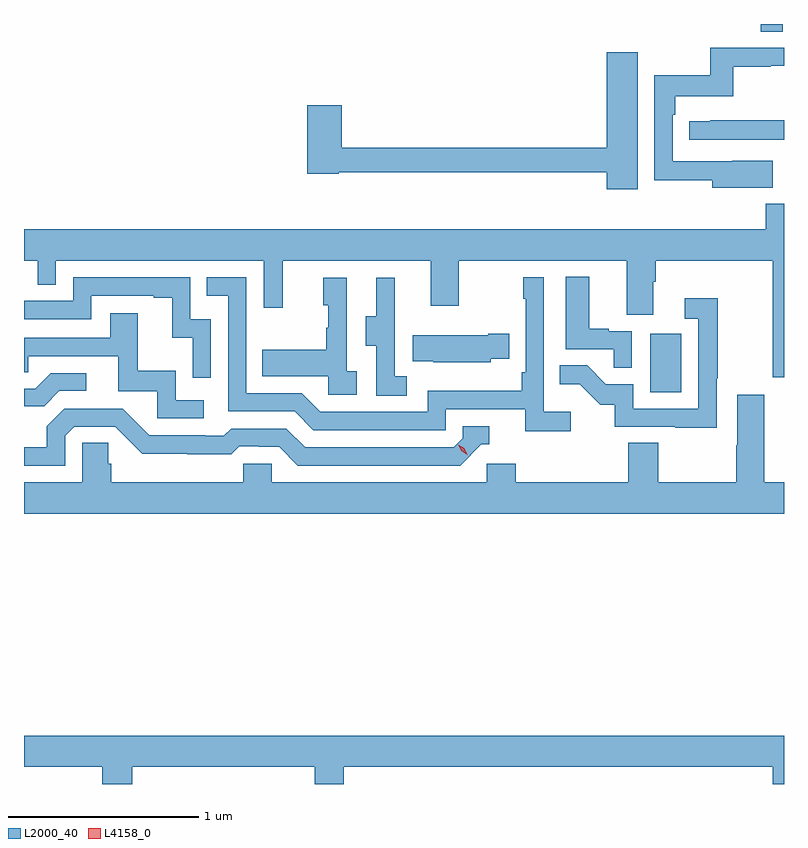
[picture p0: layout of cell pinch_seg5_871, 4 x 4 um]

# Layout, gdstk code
import gdstk
lib = gdstk.Library(unit=1e-6, precision=1e-09)
def R(c, l, rs):  # rectangles x0, y0, x1, y1
    for r in rs: c.add(gdstk.rectangle(r[:2], r[2:], *l))
def P(c, l, *ps):  # polygons
    for p in ps: c.add(gdstk.Polygon(p, *l))
L2000_40 = (2000, 40)
L4158_0 = (4158, 0)

pinch_seg5_871 = lib.new_cell('pinch_seg5_871')
R(pinch_seg5_871, L2000_40, [(859.112,882.708,859.276,883.015), (859.693,884.605,859.809,884.645)])
P(pinch_seg5_871, L2000_40, [(859.757,883.924),(859.543,883.924),(859.543,883.923),(859.23,883.923),(859.23,884.168),(859.244,884.168),(859.244,884.264),(859.549,884.264),(859.549,884.419),(859.745,884.419),(859.745,884.424),(859.816,884.424),(859.816,884.52),(859.428,884.52),(859.428,884.374),(859.134,884.374),(859.134,883.822),(859.439,883.822),(859.439,883.784),(859.757,883.784)],
  [(859.045,884.497),(858.884,884.497),(858.884,883.994),(857.489,883.994),(857.489,884.218),(857.306,884.218),(857.306,883.858),(857.472,883.858),(857.472,883.866),(858.884,883.866),(858.884,883.776),(859.045,883.776)],
  [(859.816,884.138),(859.429,884.138),(859.429,884.133),(859.317,884.133),(859.317,884.037),(859.816,884.037)],
  [(859.816,883.699),(859.721,883.699),(859.721,883.564),(855.816,883.564),(855.816,883.4),(855.888,883.4),(855.888,883.273),(855.984,883.273),(855.984,883.4),(857.079,883.4),(857.079,883.152),(857.177,883.152),(857.177,883.4),(857.957,883.4),(857.957,883.161),(858.105,883.161),(858.105,883.4),(858.989,883.4),(858.989,883.114),(859.129,883.114),(859.129,883.288),(859.142,883.288),(859.142,883.4),(859.757,883.4),(859.757,882.786),(859.816,882.786)],
  [(859.014,883.029),(858.893,883.029),(858.893,883.042),(858.79,883.042),(858.79,883.315),(858.668,883.315),(858.668,882.933),(858.919,882.933),(858.919,882.835),(859.014,882.835)],
  [(858.694,882.604),(858.552,882.604),(858.552,883.312),(858.444,883.312),(858.444,883.199),(858.456,883.199),(858.456,882.811),(858.436,882.811),(858.436,882.715),(857.94,882.715),(857.94,882.603),(857.376,882.603),(857.277,882.702),(856.986,882.702),(856.986,883.311),(856.777,883.311),(856.777,883.215),(856.89,883.215),(856.89,882.606),(857.24,882.606),(857.339,882.507),(858.036,882.507),(858.036,882.618),(858.455,882.618),(858.455,882.502),(858.694,882.502)],
  [(856.8,883.092),(856.692,883.092),(856.692,883.311),(856.074,883.311),(856.074,883.188),(855.816,883.188),(855.816,883.092),(856.17,883.092),(856.17,883.215),(856.499,883.215),(856.499,883.203),(856.595,883.203),(856.595,882.995),(856.704,882.995),(856.704,882.783),(856.8,882.783)],
  [(857.566,882.818),(857.514,882.818),(857.514,883.309),(857.39,883.309),(857.39,883.164),(857.416,883.164),(857.416,883.046),(857.406,883.046),(857.406,882.931),(857.071,882.931),(857.071,882.791),(857.418,882.791),(857.418,882.693),(857.566,882.693)],
  [(857.83,882.791),(857.766,882.791),(857.766,883.095),(857.768,883.095),(857.768,883.309),(857.669,883.309),(857.669,883.107),(857.615,883.107),(857.615,882.952),(857.67,882.952),(857.67,882.688),(857.83,882.688)],
  [(859.461,882.781),(859.466,882.781),(859.466,883.201),(859.293,883.201),(859.293,883.095),(859.365,883.095),(859.365,882.621),(859.023,882.621),(859.023,882.75),(858.878,882.75),(858.78,882.848),(858.637,882.848),(858.637,882.749),(858.741,882.749),(858.848,882.642),(858.925,882.642),(858.925,882.525),(859.243,882.525),(859.243,882.52),(859.461,882.52)],
  [(856.762,882.666),(856.614,882.666),(856.614,882.82),(856.415,882.82),(856.415,883.123),(856.271,883.123),(856.271,882.993),(855.816,882.993),(855.816,882.813),(855.839,882.813),(855.839,882.897),(856.313,882.897),(856.313,882.711),(856.518,882.711),(856.518,882.57),(856.762,882.57)],
  [(858.273,882.884),(858.371,882.884),(858.371,883.014),(858.26,883.014),(858.26,883.006),(857.863,883.006),(857.863,882.869),(857.971,882.869),(857.971,882.866),(858.273,882.866)],
  [(856.002,882.714),(856.144,882.714),(856.144,882.807),(855.956,882.807),(855.875,882.726),(855.816,882.726),(855.816,882.634),(855.922,882.634)],
  [(859.816,882.232),(859.711,882.232),(859.711,882.694),(859.571,882.694),(859.571,882.428),(859.564,882.428),(859.564,882.232),(859.155,882.232),(859.155,882.44),(858.995,882.44),(858.995,882.232),(858.404,882.232),(858.404,882.33),(858.252,882.33),(858.252,882.232),(857.121,882.232),(857.121,882.33),(856.971,882.33),(856.971,882.232),(856.274,882.232),(856.274,882.33),(856.259,882.33),(856.259,882.44),(856.122,882.44),(856.122,882.232),(855.816,882.232),(855.816,882.068),(859.816,882.068)],
  [(856.032,882.477),(856.08,882.525),(856.296,882.525),(856.438,882.383),(856.674,882.383),(856.674,882.381),(856.907,882.381),(856.949,882.423),(857.052,882.423),(857.052,882.42),(857.159,882.42),(857.258,882.321),(858.111,882.321),(858.222,882.432),(858.265,882.432),(858.265,882.528),(858.126,882.528),(858.126,882.465),(858.078,882.417),(857.295,882.417),(857.196,882.516),(856.907,882.516),(856.868,882.477),(856.769,882.477),(856.769,882.48),(856.476,882.48),(856.335,882.621),(856.029,882.621),(855.935,882.527),(855.935,882.417),(855.816,882.417),(855.816,882.321),(856.032,882.321)],
  [(856.385,880.736),(857.345,880.736),(857.345,880.645),(857.498,880.645),(857.498,880.736),(859.757,880.736),(859.757,880.645),(859.816,880.645),(859.816,880.9),(855.816,880.9),(855.816,880.736),(856.229,880.736),(856.229,880.645),(856.385,880.645)])
P(pinch_seg5_871, L4158_0, [(858.149,882.379),(858.118,882.398),(858.102,882.431),(858.102,882.431),(858.102,882.431),(858.133,882.412),(858.15,882.38),(858.15,882.379)])

lib.write_gds('pinch_seg5_871.gds')
